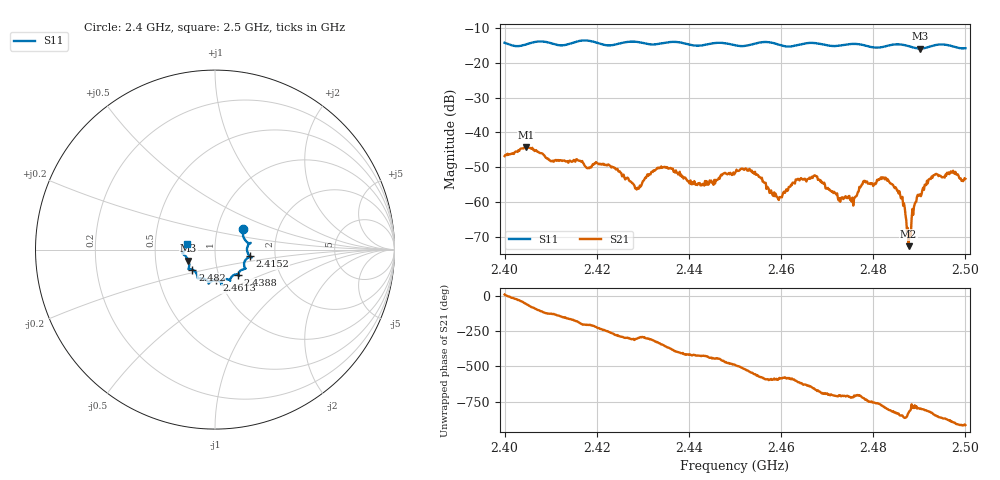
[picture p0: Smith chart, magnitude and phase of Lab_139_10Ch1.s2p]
# Hz S RI R 50
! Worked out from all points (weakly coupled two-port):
!   601 points, 2.4 GHz to 2.5 GHz, reference 50 ohm
!   highest |S21| = -44.25 dB at 2.4047 GHz (marker M1); lowest = -72.8 dB at 2.4877 GHz (marker M2)
!   lowest |S11| = -15.9 dB at 2.4902 GHz (marker M3), VSWR 1.38, Z = 36.9 - j4.64 ohm
!   |S11| at or under -10 dB: start of sweep to end of sweep
!   S12 and S22 are empty: the file has one direction only
!   S11 on the Smith chart (normalised r, x): 2.4 GHz: 1.33, +0.31; 2.4152 GHz: 1.48, -0.11; 2.4388 GHz: 1.24, -0.36; 2.4613 GHz: 0.96, -0.34; 2.482 GHz: 0.76, -0.17; 2.5 GHz: 0.72, +0.05
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2.4e9  0.158 0.1121  0.00448 0.000769  0 0  0 0
2.404667e9  0.1788 0.0411  0.00338 -0.00512  0 0  0 0
2.415167e9  0.1938 -0.0374  -0.00394 -0.000428  0 0  0 0
2.416667e9  0.2035 -0.0439  -0.00355 0.00124  0 0  0 0
2.423e9  0.163 -0.0723  -0.000472 0.00321  0 0  0 0
2.428667e9  0.1695 -0.1057  0.000823 0.00126  0 0  0 0
2.433333e9  0.1323 -0.1315  0.00266 0.00145  0 0  0 0
2.438833e9  0.1297 -0.1405  0.00133 -0.0017  0 0  0 0
2.45e9  0.0688 -0.165  -0.00162 -0.00201  0 0  0 0
2.453833e9  0.0348 -0.1817  -0.0026 0.000307  0 0  0 0
2.4595e9  0.0295 -0.1799  -0.000741 0.000758  0 0  0 0
2.461333e9  0.00758 -0.1713  -0.00104 0.000987  0 0  0 0
2.466667e9  -0.0349 -0.1901  0.000686 0.00218  0 0  0 0
2.4755e9  -0.0942 -0.1612  0.00115 1.5e-05  0 0  0 0
2.478e9  -0.0979 -0.1497  0.00199 -0.000179  0 0  0 0
2.482e9  -0.1259 -0.1117  0.00116 -0.00192  0 0  0 0
2.483333e9  -0.1397 -0.1088  9.86e-05 -0.002  0 0  0 0
2.486167e9  -0.1483 -0.1064  -0.000684 -0.000899  0 0  0 0
2.487667e9  -0.1444 -0.096  -7.43e-05 -0.000217  0 0  0 0
2.490167e9  -0.148 -0.0614  0.000194 -0.00126  0 0  0 0
2.4935e9  -0.1779 -0.0241  -0.00156 -0.00196  0 0  0 0
2.5e9  -0.1587 0.0324  -0.00206 0.000586  0 0  0 0
